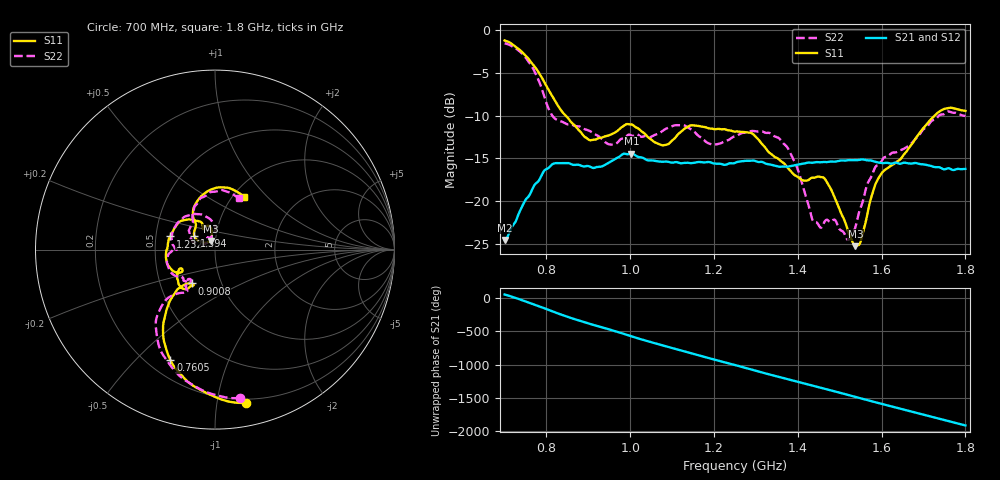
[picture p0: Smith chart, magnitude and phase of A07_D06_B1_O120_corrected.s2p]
! Created with skrf 1.9.0 (http://scikit-rf.org).
# Hz S RI R 50.0
!freq ReS11 ImS11 ReS21 ImS21 ReS12 ImS12 ReS22 ImS22
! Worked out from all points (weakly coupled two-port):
!   1601 points, 700 MHz to 1.8 GHz, reference 50 ohm
!   highest |S21| = -14.42 dB at 1.002 GHz (marker M1); lowest = -24.6 dB at 700.7 MHz (marker M2)
!   lowest |S11| = -25.3 dB at 1.537 GHz (marker M3), VSWR 1.12, Z = 47.3 + j4.61 ohm
!   |S11| at or under -10 dB: 846.3 MHz to 1.726 GHz (879.7 MHz wide, 68.4 % of centre)
!   |S22| runs from -24.5 to -1.5 dB; largest |S21 - S12| = 0.0034
!   S11 on the Smith chart (normalised r, x): 700 MHz: 0.17, -1.21; 760.5 MHz: 0.29, -0.64; 900.8 MHz: 0.72, -0.29; 1.232 GHz: 0.59, +0.09; 1.594 GHz: 0.79, +0.12; 1.8 GHz: 1.12, +0.75
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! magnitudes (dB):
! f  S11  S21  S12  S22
! 700 MHz  -1.2  -24.5  -24.3  -1.5
! 700.7 MHz  -1.2  -24.6  -24.3  -1.5
! 760.5 MHz  -3.6  -19.2  -19.1  -3.9
! 815.5 MHz  -7.8  -15.6  -15.7  -10.1
! 883.6 MHz  -12.0  -15.9  -15.8  -11.4
! 900.8 MHz  -12.8  -15.9  -15.9  -11.7
! 953 MHz  -12.2  -15.4  -15.4  -13.4
! 1.002 GHz  -11.0  -14.4  -14.5  -12.3
! 1.067 GHz  -13.3  -15.3  -15.3  -12.1
! 1.145 GHz  -11.1  -15.5  -15.5  -11.6
! 1.232 GHz  -11.7  -15.7  -15.6  -12.9
! 1.25 GHz  -11.9  -15.5  -15.4  -12.4
! 1.358 GHz  -15.3  -16.0  -15.9  -12.8
! 1.396 GHz  -17.1  -15.8  -15.8  -15.8
! 1.434 GHz  -17.3  -15.5  -15.5  -22.0
! 1.469 GHz  -17.8  -15.4  -15.4  -22.2
! 1.52 GHz  -23.5  -15.2  -15.2  -24.5
! 1.537 GHz  -25.3  -15.2  -15.2  -23.0
! 1.594 GHz  -17.2  -15.5  -15.5  -15.7
! 1.617 GHz  -16.0  -15.5  -15.5  -14.7
! 1.735 GHz  -9.6  -16.0  -16.1  -10.1
! 1.8 GHz  -9.4  -16.2  -16.2  -10.0
